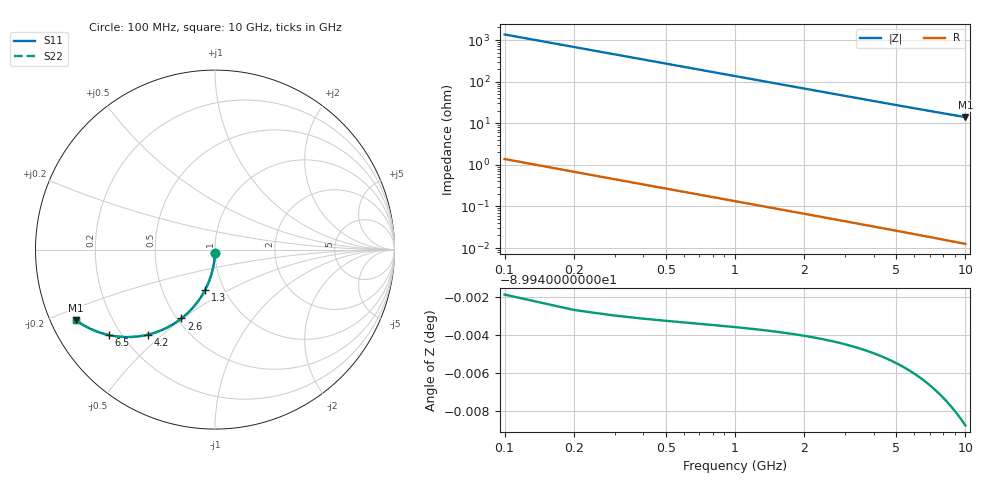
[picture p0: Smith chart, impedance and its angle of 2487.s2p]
# Hz S RI R 50.00
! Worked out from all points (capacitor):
!   100 points, 100 MHz to 10 GHz, reference 50 ohm
!   read as one part in shunt: C = 1.17 pF near 100 MHz
!   lowest |Z| = 14 ohm at 10 GHz (marker M1)
!   S11 on the Smith chart (normalised r, x): 100 MHz: 1.00, -0.04; 1.3 GHz: 0.82, -0.38; 2.6 GHz: 0.53, -0.49; 4.2 GHz: 0.30, -0.45; 6.5 GHz: 0.15, -0.35; 10 GHz: 0.07, -0.24
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1e8  -0.000311 -0.0182  0.9996 -0.0186  0.9996 -0.0186  -0.000311 -0.0182
2e8  -0.00134 -0.0363  0.9986 -0.0372  0.9986 -0.0372  -0.00134 -0.0363
3e8  -0.00305 -0.0544  0.9969 -0.0557  0.9969 -0.0557  -0.00305 -0.0544
4e8  -0.00542 -0.0723  0.9945 -0.0741  0.9945 -0.0741  -0.00542 -0.0723
5e8  -0.00844 -0.0901  0.9915 -0.0924  0.9915 -0.0924  -0.00844 -0.0901
6e8  -0.0121 -0.1077  0.9878 -0.1104  0.9878 -0.1104  -0.0121 -0.1077
7e8  -0.0164 -0.1251  0.9835 -0.1283  0.9835 -0.1283  -0.0164 -0.1251
8e8  -0.0213 -0.1423  0.9786 -0.1459  0.9786 -0.1459  -0.0213 -0.1423
1e9  -0.0329 -0.1757  0.967 -0.1802  0.967 -0.1802  -0.0329 -0.1757
1.3e9  -0.0543 -0.2233  0.9456 -0.2292  0.9456 -0.2292  -0.0543 -0.2233
1.5e9  -0.071 -0.2531  0.9289 -0.2598  0.9289 -0.2598  -0.071 -0.2531
1.8e9  -0.0991 -0.2944  0.9007 -0.3025  0.9007 -0.3025  -0.0991 -0.2944
2.2e9  -0.1412 -0.3428  0.8587 -0.3527  0.8587 -0.3527  -0.1412 -0.3428
2.6e9  -0.1867 -0.3834  0.8131 -0.3951  0.8131 -0.3951  -0.1867 -0.3834
3.4e9  -0.282 -0.4419  0.7178 -0.4572  0.7178 -0.4572  -0.282 -0.4419
4.2e9  -0.3749 -0.4741  0.6248 -0.4931  0.6248 -0.4931  -0.3749 -0.4741
5.1e9  -0.4697 -0.487  0.53 -0.5102  0.53 -0.5102  -0.4697 -0.487
6.5e9  -0.5906 -0.4763  0.4088 -0.5061  0.4088 -0.5061  -0.5906 -0.4763
6.7e9  -0.6053 -0.4728  0.3941 -0.5036  0.3941 -0.5036  -0.6053 -0.4728
7.5e9  -0.6582 -0.4564  0.3411 -0.491  0.3411 -0.491  -0.6582 -0.4564
8.4e9  -0.7078 -0.4346  0.2914 -0.4736  0.2914 -0.4736  -0.7078 -0.4346
1e10  -0.7753 -0.393  0.2234 -0.4399  0.2234 -0.4399  -0.7753 -0.393
